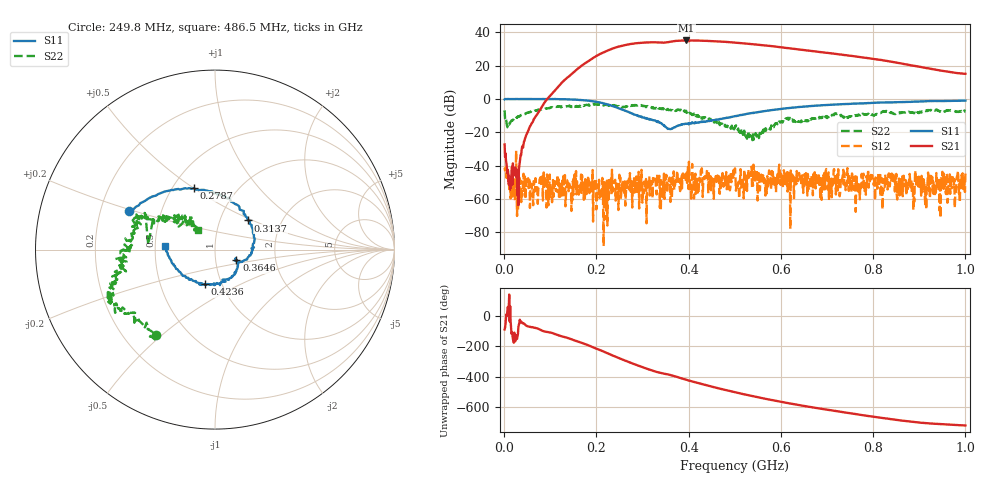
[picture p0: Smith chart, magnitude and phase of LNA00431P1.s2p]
! Created with skrf 1.9.0 (http://scikit-rf.org).
# Hz S RI R 50.0
!freq ReS11 ImS11 ReS21 ImS21 ReS12 ImS12 ReS22 ImS22
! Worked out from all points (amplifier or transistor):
!   1001 points, 1 MHz to 1 GHz, reference 50 ohm
!   highest |S21| = 35.2 dB at 394.6 MHz (marker M1)
!   |S21| within 3 dB of that: 258.9 MHz to 565.8 MHz (306.9 MHz wide, 74.4 % of centre)
!   unconditionally stable (mu >= 1): 8.573 MHz to 67.53 MHz; 297.8 MHz to 398.4 MHz; 407.7 MHz to end of sweep (the widest 3 of 32)
!   at 166.8 MHz: K = 0.86, MSG = 32.5 dB, |S12| = -45.3 dB
!   at 500.5 MHz: K = 1.25, MAG = 34.8 dB, |S12| = -41.7 dB
!   at 1 GHz: K = 2.59, MAG = 22.8 dB, |S12| = -44.4 dB
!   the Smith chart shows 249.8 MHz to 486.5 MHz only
!   S11 on the Smith chart (normalised r, x): 249.8 MHz: 0.33, +0.19; 278.7 MHz: 0.64, +0.50; 313.7 MHz: 1.36, +0.47; 364.6 MHz: 1.26, -0.15; 423.6 MHz: 0.83, -0.34; 486.5 MHz: 0.56, +0.02
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1000000  0.9766 0.00562  0.0012 -0.0432  -0.00708 0.00498  0.3673 0.2726
1.09891e8  0.5129 -0.8518  -0.839 -1.582  -0.00239 0.00245  0.4504 -0.3709
1.67833e8  -0.2227 -0.9018  -9.975 -0.7414  -0.00121 0.000691  0.055 -0.6271
2.12788e8  -0.6779 -0.3465  -15.59 18.48  -0.0037 0.00213  -0.2122 -0.6516
2.29771e8  -0.6485 -0.0536  -9.492 29.11  0.00211 0.000444  -0.2394 -0.5978
2.49751e8  -0.4766 0.2124  4.973 37.63  -0.0053 0.000451  -0.3271 -0.4741
2.78722e8  -0.1171 0.343  30.84 33.61  -0.00147 0.00289  -0.556 -0.3525
3.13687e8  0.1831 0.1626  49.58 7.865  0.00193 -0.000337  -0.546 -0.1883
3.34666e8  0.2011 -0.0187  48.99 -9.102  0.00393 0.00174  -0.5157 -0.0898
3.64636e8  0.1195 -0.0565  46.18 -27.66  -0.0008 0.00433  -0.4538 0.1021
3.94606e8  0.0856 -0.1577  30.17 -48.7  -0.000635 0.00305  -0.4094 0.1732
4.23577e8  -0.0545 -0.1933  7.041 -56.12  0.00303 0.0031  -0.2102 0.1566
4.53547e8  -0.1903 -0.1297  -15.22 -52.36  0.00306 0.00251  -0.1575 0.1554
4.86514e8  -0.2781 0.0197  -33.21 -38.98  0.00375 0.00062  -0.0964 0.1077
5.005e8  -0.2915 0.089  -38.47 -31.54  -0.00463 0.00683  -0.101 0.1125
5.4046e8  -0.229 0.302  -42.85 -9.742  0.00626 -0.00863  -0.0566 0.0179
5.85415e8  -0.0618 0.4703  -36.67 9.729  0.000728 -0.00233  -0.1498 -0.0656
6.25375e8  0.1246 0.5369  -25.79 19.53  -0.00304 -0.000274  -0.1907 -0.1445
6.67333e8  0.3253 0.5246  -14.11 23.56  -0.0024 -0.00139  -0.2639 -0.0485
7.55245e8  0.6309 0.353  3.519 19.14  -0.00198 -0.000605  -0.3125 0.0333
8.34166e8  0.7793 0.1308  9.588 9.59  -0.00127 -0.00571  -0.4037 0.0394
1e9  0.8046 -0.3945  5.714 0.168  -0.00429 -0.00426  -0.2423 0.3507
